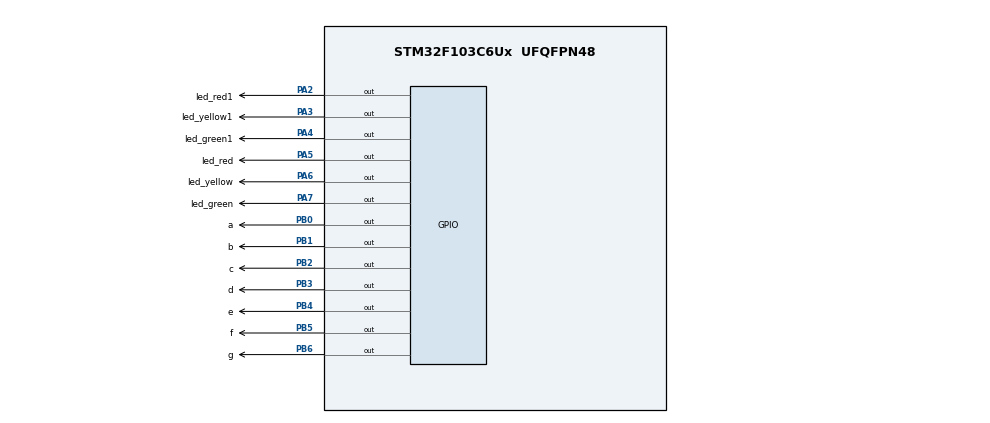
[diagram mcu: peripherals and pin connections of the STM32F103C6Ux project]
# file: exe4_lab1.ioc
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Mcu.Family=STM32F1
Mcu.Name=STM32F103C6Ux
Mcu.Package=UFQFPN48
NVIC.PriorityGroup=NVIC_PRIORITYGROUP_4
PA2.GPIO_Label=led_red1
PA2.Signal=GPIO_Output
PA3.GPIO_Label=led_yellow1
PA3.Signal=GPIO_Output
PA4.GPIO_Label=led_green1
PA4.Signal=GPIO_Output
PA5.GPIO_Label=led_red
PA5.Signal=GPIO_Output
PA6.GPIO_Label=led_yellow
PA6.Signal=GPIO_Output
PA7.GPIO_Label=led_green
PA7.Signal=GPIO_Output
PB0.GPIO_Label=a
PB0.Signal=GPIO_Output
PB1.GPIO_Label=b
PB1.Signal=GPIO_Output
PB2.GPIO_Label=c
PB2.Signal=GPIO_Output
PB3.GPIO_Label=d
PB3.Signal=GPIO_Output
PB4.GPIO_Label=e
PB4.Signal=GPIO_Output
PB5.GPIO_Label=f
PB5.Signal=GPIO_Output
PB6.GPIO_Label=g
PB6.Signal=GPIO_Output
ProjectManager.HeapSize=0x200
ProjectManager.StackSize=0x400
ProjectManager.TargetToolchain=STM32CubeIDE
RCC.APB1Freq_Value=8000000
RCC.APB2Freq_Value=8000000
VP_SYS_VS_ND.Mode=No_Debug
board=custom

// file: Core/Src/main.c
/* USER CODE BEGIN Header */
/**
  ******************************************************************************
  * @file           : main.c
  * @brief          : Main program body
  ******************************************************************************
  * @attention
  *
  * <h2><center>&copy; Copyright (c) 2022 STMicroelectronics.
  * All rights reserved.</center></h2>
  *
  * This software component is licensed by ST under BSD 3-Clause license,
  * the "License"; You may not use this file except in compliance with the
  * License. You may obtain a copy of the License at:
  *                        opensource.org/licenses/BSD-3-Clause
  *
  ******************************************************************************
  */
/* USER CODE END Header */
#include "main.h"

void SystemClock_Config(void);
static void MX_GPIO_Init(void);

void display7SEG(int num){
	  if(num == 0){
		  HAL_GPIO_WritePin(a_GPIO_Port, a_Pin, RESET);
		  HAL_GPIO_WritePin(b_GPIO_Port, b_Pin, RESET);
		  HAL_GPIO_WritePin(c_GPIO_Port, c_Pin, RESET);
		  HAL_GPIO_WritePin(d_GPIO_Port, d_Pin, RESET);
		  HAL_GPIO_WritePin(e_GPIO_Port, e_Pin, RESET);
		  HAL_GPIO_WritePin(f_GPIO_Port, f_Pin, RESET);
		  HAL_GPIO_WritePin(g_GPIO_Port, g_Pin, SET);
	  }
	  if(num == 1){
		  HAL_GPIO_WritePin(a_GPIO_Port, a_Pin, SET);
		  HAL_GPIO_WritePin(b_GPIO_Port, b_Pin, RESET);
		  HAL_GPIO_WritePin(c_GPIO_Port, c_Pin, RESET);
		  HAL_GPIO_WritePin(d_GPIO_Port, d_Pin, SET);
		  HAL_GPIO_WritePin(e_GPIO_Port, e_Pin, SET);
		  HAL_GPIO_WritePin(f_GPIO_Port, f_Pin, SET);
		  HAL_GPIO_WritePin(g_GPIO_Port, g_Pin, SET);
	  }
	  if(num == 2){
		  HAL_GPIO_WritePin(a_GPIO_Port, a_Pin, RESET);
		  HAL_GPIO_WritePin(b_GPIO_Port, b_Pin, RESET);
		  HAL_GPIO_WritePin(c_GPIO_Port, c_Pin, SET);
		  HAL_GPIO_WritePin(d_GPIO_Port, d_Pin, RESET);
		  HAL_GPIO_WritePin(e_GPIO_Port, e_Pin, RESET);
		  HAL_GPIO_WritePin(f_GPIO_Port, f_Pin, SET);
		  HAL_GPIO_WritePin(g_GPIO_Port, g_Pin, RESET);
	  }
	  if(num == 3){
		  HAL_GPIO_WritePin(a_GPIO_Port, a_Pin, RESET);
		  HAL_GPIO_WritePin(b_GPIO_Port, b_Pin, RESET);
		  HAL_GPIO_WritePin(c_GPIO_Port, c_Pin, RESET);
		  HAL_GPIO_WritePin(d_GPIO_Port, d_Pin, RESET);
		  HAL_GPIO_WritePin(e_GPIO_Port, e_Pin, SET);
		  HAL_GPIO_WritePin(f_GPIO_Port, f_Pin, SET);
		  HAL_GPIO_WritePin(g_GPIO_Port, g_Pin, RESET);
	  }
	  if(num == 4){
		  HAL_GPIO_WritePin(a_GPIO_Port, a_Pin, SET);
		  HAL_GPIO_WritePin(b_GPIO_Port, b_Pin, RESET);
		  HAL_GPIO_WritePin(c_GPIO_Port, c_Pin, RESET);
		  HAL_GPIO_WritePin(d_GPIO_Port, d_Pin, SET);
		  HAL_GPIO_WritePin(e_GPIO_Port, e_Pin, SET);
		  HAL_GPIO_WritePin(f_GPIO_Port, f_Pin, RESET);
		  HAL_GPIO_WritePin(g_GPIO_Port, g_Pin, RESET);
	  }
	  if(num == 5){
		  HAL_GPIO_WritePin(a_GPIO_Port, a_Pin, RESET);
		  HAL_GPIO_WritePin(b_GPIO_Port, b_Pin, SET);
		  HAL_GPIO_WritePin(c_GPIO_Port, c_Pin, RESET);
		  HAL_GPIO_WritePin(d_GPIO_Port, d_Pin, RESET);
		  HAL_GPIO_WritePin(e_GPIO_Port, e_Pin, SET);
		  HAL_GPIO_WritePin(f_GPIO_Port, f_Pin, RESET);
		  HAL_GPIO_WritePin(g_GPIO_Port, g_Pin, RESET);
	  }
	  if(num == 6){
		  HAL_GPIO_WritePin(a_GPIO_Port, a_Pin, RESET);
		  HAL_GPIO_WritePin(b_GPIO_Port, b_Pin, SET);
		  HAL_GPIO_WritePin(c_GPIO_Port, c_Pin, RESET);
		  HAL_GPIO_WritePin(d_GPIO_Port, d_Pin, RESET);
		  HAL_GPIO_WritePin(e_GPIO_Port, e_Pin, RESET);
		  HAL_GPIO_WritePin(f_GPIO_Port, f_Pin, RESET);
		  HAL_GPIO_WritePin(g_GPIO_Port, g_Pin, RESET);
	  }
	  if(num == 7){
		  HAL_GPIO_WritePin(a_GPIO_Port, a_Pin, RESET);
		  HAL_GPIO_WritePin(b_GPIO_Port, b_Pin, RESET);
		  HAL_GPIO_WritePin(c_GPIO_Port, c_Pin, RESET);
		  HAL_GPIO_WritePin(d_GPIO_Port, d_Pin, SET);
		  HAL_GPIO_WritePin(e_GPIO_Port, e_Pin, SET);
		  HAL_GPIO_WritePin(f_GPIO_Port, f_Pin, SET);
		  HAL_GPIO_WritePin(g_GPIO_Port, g_Pin, SET);
	  }
	  if(num == 8){
		  HAL_GPIO_WritePin(a_GPIO_Port, a_Pin, RESET);
		  HAL_GPIO_WritePin(b_GPIO_Port, b_Pin, RESET);
		  HAL_GPIO_WritePin(c_GPIO_Port, c_Pin, RESET);
		  HAL_GPIO_WritePin(d_GPIO_Port, d_Pin, RESET);
		  HAL_GPIO_WritePin(e_GPIO_Port, e_Pin, RESET);
		  HAL_GPIO_WritePin(f_GPIO_Port, f_Pin, RESET);
		  HAL_GPIO_WritePin(g_GPIO_Port, g_Pin, RESET);
	  }
	  if(num == 9){
		  HAL_GPIO_WritePin(a_GPIO_Port, a_Pin, RESET);
		  HAL_GPIO_WritePin(b_GPIO_Port, b_Pin, RESET);
		  HAL_GPIO_WritePin(c_GPIO_Port, c_Pin, RESET);
		  HAL_GPIO_WritePin(d_GPIO_Port, d_Pin, RESET);
		  HAL_GPIO_WritePin(e_GPIO_Port, e_Pin, SET);
		  HAL_GPIO_WritePin(f_GPIO_Port, f_Pin, RESET);
		  HAL_GPIO_WritePin(g_GPIO_Port, g_Pin, RESET);
	  }
};
int main(void)
{

  /* MCU Configuration--------------------------------------------------------*/

  /* Reset of all peripherals, Initializes the Flash interface and the Systick. */
  HAL_Init();

  /* Configure the system clock */
  SystemClock_Config();

  /* Initialize all configured peripherals */
  MX_GPIO_Init();

  /* Infinite loop */
  /* USER CODE BEGIN WHILE */

  int count = 0;
  while (1)
  {
	  if(count >= 10 || count == 0){
		  count = 0;
		  HAL_GPIO_WritePin(led_red_GPIO_Port, led_red_Pin, RESET);
		  HAL_GPIO_WritePin(led_yellow_GPIO_Port, led_yellow_Pin, SET);
		  HAL_GPIO_WritePin(led_green_GPIO_Port, led_green_Pin, SET);
		  HAL_GPIO_WritePin(led_red1_GPIO_Port, led_red1_Pin, SET);
		  HAL_GPIO_WritePin(led_yellow1_GPIO_Port, led_yellow1_Pin, SET);
		  HAL_GPIO_WritePin(led_green1_GPIO_Port, led_green1_Pin, RESET);
	  }
	  if(count == 3){
		  HAL_GPIO_TogglePin(led_green1_GPIO_Port, led_green1_Pin);
		  HAL_GPIO_TogglePin(led_yellow1_GPIO_Port, led_yellow1_Pin);
	  }
	  if(count == 5){
		  HAL_GPIO_TogglePin(led_red_GPIO_Port, led_red_Pin);
		  HAL_GPIO_TogglePin(led_green_GPIO_Port, led_green_Pin);
		  HAL_GPIO_TogglePin(led_yellow1_GPIO_Port, led_yellow1_Pin);
		  HAL_GPIO_TogglePin(led_red1_GPIO_Port, led_red1_Pin);
	  }
	  if(count == 8){
		  HAL_GPIO_TogglePin(led_green_GPIO_Port, led_green_Pin);
		  HAL_GPIO_TogglePin(led_yellow_GPIO_Port, led_yellow_Pin);
	  }
	  display7SEG(count++);

	  HAL_Delay(1000);
    /* USER CODE END WHILE */

  }
}

void SystemClock_Config(void)
{
  RCC_OscInitTypeDef RCC_OscInitStruct = {0};
  RCC_ClkInitTypeDef RCC_ClkInitStruct = {0};

  /** Initializes the RCC Oscillators according to the specified parameters
  * in the RCC_OscInitTypeDef structure.
  */
  RCC_OscInitStruct.OscillatorType = RCC_OSCILLATORTYPE_HSI;
  RCC_OscInitStruct.HSIState = RCC_HSI_ON;
  RCC_OscInitStruct.HSICalibrationValue = RCC_HSICALIBRATION_DEFAULT;
  RCC_OscInitStruct.PLL.PLLState = RCC_PLL_NONE;
  if (HAL_RCC_OscConfig(&RCC_OscInitStruct) != HAL_OK)
  {
    Error_Handler();
  }

  /** Initializes the CPU, AHB and APB buses clocks
  */
  RCC_ClkInitStruct.ClockType = RCC_CLOCKTYPE_HCLK|RCC_CLOCKTYPE_SYSCLK
                              |RCC_CLOCKTYPE_PCLK1|RCC_CLOCKTYPE_PCLK2;
  RCC_ClkInitStruct.SYSCLKSource = RCC_SYSCLKSOURCE_HSI;
  RCC_ClkInitStruct.AHBCLKDivider = RCC_SYSCLK_DIV1;
  RCC_ClkInitStruct.APB1CLKDivider = RCC_HCLK_DIV1;
  RCC_ClkInitStruct.APB2CLKDivider = RCC_HCLK_DIV1;

  if (HAL_RCC_ClockConfig(&RCC_ClkInitStruct, FLASH_LATENCY_0) != HAL_OK)
  {
    Error_Handler();
  }
}

static void MX_GPIO_Init(void)
{
  GPIO_InitTypeDef GPIO_InitStruct = {0};

  /* GPIO Ports Clock Enable */
  __HAL_RCC_GPIOA_CLK_ENABLE();
  __HAL_RCC_GPIOB_CLK_ENABLE();

  /*Configure GPIO pin Output Level */
  HAL_GPIO_WritePin(GPIOA, led_red1_Pin|led_yellow1_Pin|led_green1_Pin|led_red_Pin
                          |led_yellow_Pin|led_green_Pin, GPIO_PIN_RESET);

  /*Configure GPIO pin Output Level */
  HAL_GPIO_WritePin(GPIOB, a_Pin|b_Pin|c_Pin|d_Pin
                          |e_Pin|f_Pin|g_Pin, GPIO_PIN_RESET);

  /*Configure GPIO pins : led_red1_Pin led_yellow1_Pin led_green1_Pin led_red_Pin
                           led_yellow_Pin led_green_Pin */
  GPIO_InitStruct.Pin = led_red1_Pin|led_yellow1_Pin|led_green1_Pin|led_red_Pin
                          |led_yellow_Pin|led_green_Pin;
  GPIO_InitStruct.Mode = GPIO_MODE_OUTPUT_PP;
  GPIO_InitStruct.Pull = GPIO_NOPULL;
  GPIO_InitStruct.Speed = GPIO_SPEED_FREQ_LOW;
  HAL_GPIO_Init(GPIOA, &GPIO_InitStruct);

  /*Configure GPIO pins : a_Pin b_Pin c_Pin d_Pin
                           e_Pin f_Pin g_Pin */
  GPIO_InitStruct.Pin = a_Pin|b_Pin|c_Pin|d_Pin
                          |e_Pin|f_Pin|g_Pin;
  GPIO_InitStruct.Mode = GPIO_MODE_OUTPUT_PP;
  GPIO_InitStruct.Pull = GPIO_NOPULL;
  GPIO_InitStruct.Speed = GPIO_SPEED_FREQ_LOW;
  HAL_GPIO_Init(GPIOB, &GPIO_InitStruct);

}

void Error_Handler(void)
{
  __disable_irq();
  while (1)
  {
  }
}
